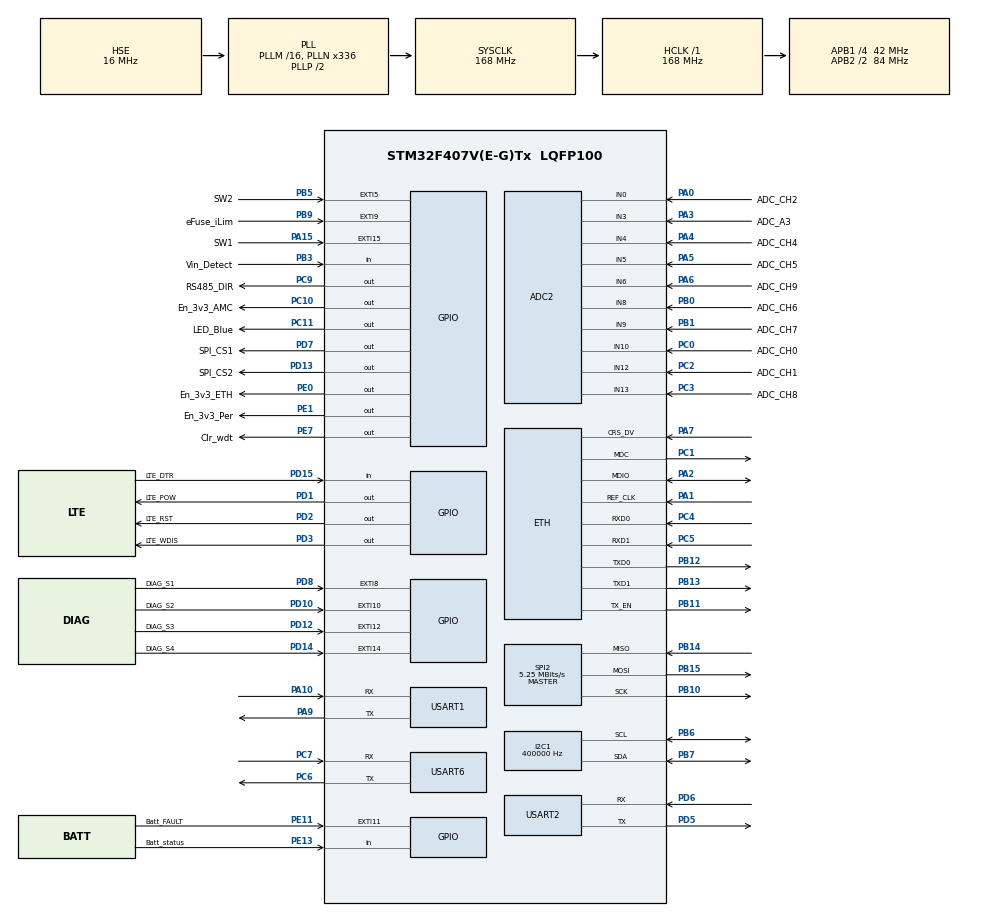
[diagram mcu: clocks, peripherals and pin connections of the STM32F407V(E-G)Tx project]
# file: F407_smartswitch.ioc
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ADC2.Channel-0\#ChannelRegularConversion=ADC_CHANNEL_10
ADC2.Channel-1\#ChannelRegularConversion=ADC_CHANNEL_12
ADC2.Channel-2\#ChannelRegularConversion=ADC_CHANNEL_0
ADC2.Channel-3\#ChannelRegularConversion=ADC_CHANNEL_3
ADC2.Channel-4\#ChannelRegularConversion=ADC_CHANNEL_4
ADC2.Channel-5\#ChannelRegularConversion=ADC_CHANNEL_5
ADC2.Channel-6\#ChannelRegularConversion=ADC_CHANNEL_8
ADC2.Channel-7\#ChannelRegularConversion=ADC_CHANNEL_9
ADC2.Channel-8\#ChannelRegularConversion=ADC_CHANNEL_13
ADC2.Channel-9\#ChannelRegularConversion=ADC_CHANNEL_6
ADC2.ContinuousConvMode=ENABLE
ADC2.DMAContinuousRequests=ENABLE
ADC2.EOCSelection=ADC_EOC_SEQ_CONV
ADC2.EnableAnalogWatchDog=false
ADC2.ExternalTrigConv=ADC_SOFTWARE_START
ADC2.InjNumberOfConversion=0
ADC2.NbrOfConversion=10
ADC2.NbrOfConversionFlag=1
ADC2.Rank-0\#ChannelRegularConversion=1
ADC2.Rank-1\#ChannelRegularConversion=2
ADC2.Rank-2\#ChannelRegularConversion=3
ADC2.Rank-3\#ChannelRegularConversion=4
ADC2.Rank-4\#ChannelRegularConversion=5
ADC2.Rank-5\#ChannelRegularConversion=6
ADC2.Rank-6\#ChannelRegularConversion=7
ADC2.Rank-7\#ChannelRegularConversion=8
ADC2.Rank-8\#ChannelRegularConversion=9
ADC2.Rank-9\#ChannelRegularConversion=10
ADC2.SamplingTime-0\#ChannelRegularConversion=ADC_SAMPLETIME_480CYCLES
ADC2.SamplingTime-1\#ChannelRegularConversion=ADC_SAMPLETIME_480CYCLES
ADC2.SamplingTime-2\#ChannelRegularConversion=ADC_SAMPLETIME_480CYCLES
ADC2.SamplingTime-3\#ChannelRegularConversion=ADC_SAMPLETIME_480CYCLES
ADC2.SamplingTime-4\#ChannelRegularConversion=ADC_SAMPLETIME_480CYCLES
ADC2.SamplingTime-5\#ChannelRegularConversion=ADC_SAMPLETIME_480CYCLES
ADC2.SamplingTime-6\#ChannelRegularConversion=ADC_SAMPLETIME_480CYCLES
ADC2.SamplingTime-7\#ChannelRegularConversion=ADC_SAMPLETIME_480CYCLES
ADC2.SamplingTime-8\#ChannelRegularConversion=ADC_SAMPLETIME_480CYCLES
ADC2.SamplingTime-9\#ChannelRegularConversion=ADC_SAMPLETIME_480CYCLES
ADC2.ScanConvMode=ENABLE
Dma.ADC2.10.Direction=DMA_PERIPH_TO_MEMORY
Dma.ADC2.10.FIFOMode=DMA_FIFOMODE_DISABLE
Dma.ADC2.10.Instance=DMA2_Stream3
Dma.ADC2.10.MemDataAlignment=DMA_MDATAALIGN_HALFWORD
Dma.ADC2.10.MemInc=DMA_MINC_ENABLE
Dma.ADC2.10.Mode=DMA_CIRCULAR
Dma.ADC2.10.PeriphDataAlignment=DMA_PDATAALIGN_HALFWORD
Dma.ADC2.10.PeriphInc=DMA_PINC_DISABLE
Dma.ADC2.10.Priority=DMA_PRIORITY_MEDIUM
Dma.I2C1_RX.2.Direction=DMA_PERIPH_TO_MEMORY
Dma.I2C1_RX.2.FIFOMode=DMA_FIFOMODE_DISABLE
Dma.I2C1_RX.2.Instance=DMA1_Stream0
Dma.I2C1_RX.2.MemDataAlignment=DMA_MDATAALIGN_BYTE
Dma.I2C1_RX.2.MemInc=DMA_MINC_ENABLE
Dma.I2C1_RX.2.Mode=DMA_NORMAL
Dma.I2C1_RX.2.PeriphDataAlignment=DMA_PDATAALIGN_BYTE
Dma.I2C1_RX.2.PeriphInc=DMA_PINC_DISABLE
Dma.I2C1_RX.2.Priority=DMA_PRIORITY_LOW
Dma.I2C1_TX.3.Direction=DMA_MEMORY_TO_PERIPH
Dma.I2C1_TX.3.FIFOMode=DMA_FIFOMODE_DISABLE
Dma.I2C1_TX.3.Instance=DMA1_Stream7
Dma.I2C1_TX.3.MemDataAlignment=DMA_MDATAALIGN_BYTE
Dma.I2C1_TX.3.MemInc=DMA_MINC_ENABLE
Dma.I2C1_TX.3.Mode=DMA_NORMAL
Dma.I2C1_TX.3.PeriphDataAlignment=DMA_PDATAALIGN_BYTE
Dma.I2C1_TX.3.PeriphInc=DMA_PINC_DISABLE
Dma.I2C1_TX.3.Priority=DMA_PRIORITY_LOW
Dma.Request0=USART6_RX
Dma.Request1=USART6_TX
Dma.Request10=ADC2
Dma.Request2=I2C1_RX
Dma.Request3=I2C1_TX
Dma.Request4=USART1_RX
Dma.Request5=USART1_TX
Dma.Request6=SPI2_RX
Dma.Request7=SPI2_TX
Dma.Request8=USART2_RX
Dma.Request9=USART2_TX
Dma.SPI2_RX.6.Direction=DMA_PERIPH_TO_MEMORY
Dma.SPI2_RX.6.FIFOMode=DMA_FIFOMODE_DISABLE
Dma.SPI2_RX.6.Instance=DMA1_Stream3
Dma.SPI2_RX.6.MemDataAlignment=DMA_MDATAALIGN_BYTE
Dma.SPI2_RX.6.MemInc=DMA_MINC_ENABLE
Dma.SPI2_RX.6.Mode=DMA_NORMAL
Dma.SPI2_RX.6.PeriphDataAlignment=DMA_PDATAALIGN_BYTE
Dma.SPI2_RX.6.PeriphInc=DMA_PINC_DISABLE
Dma.SPI2_RX.6.Priority=DMA_PRIORITY_LOW
Dma.SPI2_TX.7.Direction=DMA_MEMORY_TO_PERIPH
Dma.SPI2_TX.7.FIFOMode=DMA_FIFOMODE_DISABLE
Dma.SPI2_TX.7.Instance=DMA1_Stream4
Dma.SPI2_TX.7.MemDataAlignment=DMA_MDATAALIGN_BYTE
Dma.SPI2_TX.7.MemInc=DMA_MINC_ENABLE
Dma.SPI2_TX.7.Mode=DMA_NORMAL
Dma.SPI2_TX.7.PeriphDataAlignment=DMA_PDATAALIGN_BYTE
Dma.SPI2_TX.7.PeriphInc=DMA_PINC_DISABLE
Dma.SPI2_TX.7.Priority=DMA_PRIORITY_LOW
Dma.USART1_RX.4.Direction=DMA_PERIPH_TO_MEMORY
Dma.USART1_RX.4.FIFOMode=DMA_FIFOMODE_DISABLE
Dma.USART1_RX.4.Instance=DMA2_Stream2
Dma.USART1_RX.4.MemDataAlignment=DMA_MDATAALIGN_BYTE
Dma.USART1_RX.4.MemInc=DMA_MINC_ENABLE
Dma.USART1_RX.4.Mode=DMA_NORMAL
Dma.USART1_RX.4.PeriphDataAlignment=DMA_PDATAALIGN_BYTE
Dma.USART1_RX.4.PeriphInc=DMA_PINC_DISABLE
Dma.USART1_RX.4.Priority=DMA_PRIORITY_LOW
Dma.USART1_TX.5.Direction=DMA_MEMORY_TO_PERIPH
Dma.USART1_TX.5.FIFOMode=DMA_FIFOMODE_DISABLE
Dma.USART1_TX.5.Instance=DMA2_Stream7
Dma.USART1_TX.5.MemDataAlignment=DMA_MDATAALIGN_BYTE
Dma.USART1_TX.5.MemInc=DMA_MINC_ENABLE
Dma.USART1_TX.5.Mode=DMA_NORMAL
Dma.USART1_TX.5.PeriphDataAlignment=DMA_PDATAALIGN_BYTE
Dma.USART1_TX.5.PeriphInc=DMA_PINC_DISABLE
Dma.USART1_TX.5.Priority=DMA_PRIORITY_LOW
Dma.USART2_RX.8.Direction=DMA_PERIPH_TO_MEMORY
Dma.USART2_RX.8.FIFOMode=DMA_FIFOMODE_DISABLE
Dma.USART2_RX.8.Instance=DMA1_Stream5
Dma.USART2_RX.8.MemDataAlignment=DMA_MDATAALIGN_BYTE
Dma.USART2_RX.8.MemInc=DMA_MINC_ENABLE
Dma.USART2_RX.8.Mode=DMA_NORMAL
Dma.USART2_RX.8.PeriphDataAlignment=DMA_PDATAALIGN_BYTE
Dma.USART2_RX.8.PeriphInc=DMA_PINC_DISABLE
Dma.USART2_RX.8.Priority=DMA_PRIORITY_LOW
Dma.USART2_TX.9.Direction=DMA_MEMORY_TO_PERIPH
Dma.USART2_TX.9.FIFOMode=DMA_FIFOMODE_DISABLE
Dma.USART2_TX.9.Instance=DMA1_Stream6
Dma.USART2_TX.9.MemDataAlignment=DMA_MDATAALIGN_BYTE
Dma.USART2_TX.9.MemInc=DMA_MINC_ENABLE
Dma.USART2_TX.9.Mode=DMA_NORMAL
Dma.USART2_TX.9.PeriphDataAlignment=DMA_PDATAALIGN_BYTE
Dma.USART2_TX.9.PeriphInc=DMA_PINC_DISABLE
Dma.USART2_TX.9.Priority=DMA_PRIORITY_LOW
Dma.USART6_RX.0.Direction=DMA_PERIPH_TO_MEMORY
Dma.USART6_RX.0.FIFOMode=DMA_FIFOMODE_DISABLE
Dma.USART6_RX.0.Instance=DMA2_Stream1
Dma.USART6_RX.0.MemDataAlignment=DMA_MDATAALIGN_BYTE
Dma.USART6_RX.0.MemInc=DMA_MINC_ENABLE
Dma.USART6_RX.0.Mode=DMA_CIRCULAR
Dma.USART6_RX.0.PeriphDataAlignment=DMA_PDATAALIGN_BYTE
Dma.USART6_RX.0.PeriphInc=DMA_PINC_DISABLE
Dma.USART6_RX.0.Priority=DMA_PRIORITY_LOW
Dma.USART6_TX.1.Direction=DMA_MEMORY_TO_PERIPH
Dma.USART6_TX.1.FIFOMode=DMA_FIFOMODE_DISABLE
Dma.USART6_TX.1.Instance=DMA2_Stream6
Dma.USART6_TX.1.MemDataAlignment=DMA_MDATAALIGN_BYTE
Dma.USART6_TX.1.MemInc=DMA_MINC_ENABLE
Dma.USART6_TX.1.Mode=DMA_NORMAL
Dma.USART6_TX.1.PeriphDataAlignment=DMA_PDATAALIGN_BYTE
Dma.USART6_TX.1.PeriphInc=DMA_PINC_DISABLE
Dma.USART6_TX.1.Priority=DMA_PRIORITY_LOW
ETH.MediaInterface=HAL_ETH_RMII_MODE
FREERTOS.Tasks01=defaultTask,24,512,StartDefaultTask,Default,NULL,Dynamic,NULL,NULL
FREERTOS.configCHECK_FOR_STACK_OVERFLOW=2
FREERTOS.configTOTAL_HEAP_SIZE=49152
FREERTOS.configUSE_MALLOC_FAILED_HOOK=1
FREERTOS.configUSE_NEWLIB_REENTRANT=1
I2C1.ClockSpeed=400000
I2C1.I2C_Mode=I2C_Fast
Mcu.Family=STM32F4
Mcu.Name=STM32F407V(E-G)Tx
Mcu.Package=LQFP100
NVIC.DMA1_Stream0_IRQn=true\:5\:0\:false\:false\:true\:true\:false\:true\:true
NVIC.DMA1_Stream3_IRQn=true\:5\:0\:false\:false\:true\:true\:false\:true\:true
NVIC.DMA1_Stream4_IRQn=true\:5\:0\:false\:false\:true\:true\:false\:true\:true
NVIC.DMA1_Stream5_IRQn=true\:5\:0\:false\:false\:true\:true\:false\:true\:true
NVIC.DMA1_Stream6_IRQn=true\:5\:0\:false\:false\:true\:true\:false\:true\:true
NVIC.DMA1_Stream7_IRQn=true\:5\:0\:false\:false\:true\:true\:false\:true\:true
NVIC.DMA2_Stream1_IRQn=true\:5\:0\:false\:false\:true\:true\:false\:true\:true
NVIC.DMA2_Stream2_IRQn=true\:5\:0\:false\:false\:true\:true\:false\:true\:true
NVIC.DMA2_Stream3_IRQn=true\:5\:0\:false\:false\:true\:true\:false\:true\:true
NVIC.DMA2_Stream6_IRQn=true\:5\:0\:false\:false\:true\:true\:false\:true\:true
NVIC.DMA2_Stream7_IRQn=true\:5\:0\:false\:false\:true\:true\:false\:true\:true
NVIC.EXTI15_10_IRQn=true\:5\:0\:false\:false\:true\:true\:true\:true\:true
NVIC.EXTI9_5_IRQn=true\:5\:0\:false\:false\:true\:true\:true\:true\:true
NVIC.PriorityGroup=NVIC_PRIORITYGROUP_4
NVIC.SPI2_IRQn=true\:5\:0\:false\:false\:true\:true\:true\:true\:true
NVIC.TIM6_DAC_IRQn=true\:15\:0\:false\:false\:true\:false\:false\:true\:true
NVIC.TimeBase=TIM6_DAC_IRQn
NVIC.TimeBaseIP=TIM6
NVIC.USART1_IRQn=true\:5\:0\:false\:false\:true\:true\:true\:true\:true
NVIC.USART2_IRQn=true\:5\:0\:false\:false\:true\:true\:true\:true\:true
NVIC.USART6_IRQn=true\:5\:0\:false\:false\:true\:true\:true\:true\:true
Oryx-Embedded.Middleware.2.5.2.CycloneCommonCcCycloneCommonJjCompilerOoSupport=true
Oryx-Embedded.Middleware.2.5.2.CycloneCommonCcCycloneCommonJjDateOoTimeOoHelperOoRoutines=true
Oryx-Embedded.Middleware.2.5.2.CycloneCommonCcCycloneCommonJjRTOSOoPortJjFreeRTOSOoPort=true
Oryx-Embedded.Middleware.2.5.2.CycloneCommonCcCycloneCommonJjResourceOoManager=true
Oryx-Embedded.Middleware.2.5.2.CycloneCommonCcCycloneCommonJjStringOoHelperOoRoutines=true
Oryx-Embedded.Middleware.2.5.2.CycloneTCPCcCycloneTCPJjCore=true
Oryx-Embedded.Middleware.2.5.2.CycloneTCPCcCycloneTCPJjDHCPJjDHCPOoClient=true
Oryx-Embedded.Middleware.2.5.2.CycloneTCPCcCycloneTCPJjDriversOoDdMACEeJjSTM32F4xx=true
Oryx-Embedded.Middleware.2.5.2.CycloneTCPCcCycloneTCPJjDriversOoDdPHYEeJjLAN8742=true
Oryx-Embedded.Middleware.2.5.2.CycloneTCPCcCycloneTCPJjHTTPJjHTTPOoServer=TCP
Oryx-Embedded.Middleware.2.5.2.CycloneTCPCcCycloneTCPJjIPv4JjCore=true
Oryx-Embedded.Middleware.2.5.2.CycloneTCPCcCycloneTCPJjSocket=true
Oryx-Embedded.Middleware.2.5.2.CycloneTCPCcCycloneTCPJjTCP=true
Oryx-Embedded.Middleware.2.5.2.CycloneTCPCcCycloneTCPJjUDP=true
PA0-WKUP.GPIO_Label=ADC_CH2
PA0-WKUP.Signal=ADCx_IN0
PA1.Mode=RMII
PA1.Signal=ETH_REF_CLK
PA10.Mode=Asynchronous
PA10.Signal=USART1_RX
PA13.Mode=Serial_Wire
PA13.Signal=SYS_JTMS-SWDIO
PA14.Mode=Serial_Wire
PA14.Signal=SYS_JTCK-SWCLK
PA15.GPIO_Label=SW1
PA15.GPIO_ModeDefaultEXTI=GPIO_MODE_IT_FALLING
PA15.Signal=GPXTI15
PA2.Mode=RMII
PA2.Signal=ETH_MDIO
PA3.GPIO_Label=ADC_A3
PA3.Signal=ADCx_IN3
PA4.GPIO_Label=ADC_CH4
PA4.Signal=ADCx_IN4
PA5.GPIO_Label=ADC_CH5
PA5.Signal=ADCx_IN5
PA6.GPIO_Label=ADC_CH9
PA6.Signal=ADCx_IN6
PA7.Mode=RMII
PA7.Signal=ETH_CRS_DV
PA9.Mode=Asynchronous
PA9.Signal=USART1_TX
PB0.GPIO_Label=ADC_CH6
PB0.Signal=ADCx_IN8
PB1.GPIO_Label=ADC_CH7
PB1.Signal=ADCx_IN9
PB10.GPIO_Speed=GPIO_SPEED_FREQ_MEDIUM
PB10.Mode=Full_Duplex_Master
PB10.Signal=SPI2_SCK
PB11.Mode=RMII
PB11.Signal=ETH_TX_EN
PB12.Mode=RMII
PB12.Signal=ETH_TXD0
PB13.Mode=RMII
PB13.Signal=ETH_TXD1
PB14.GPIO_Speed=GPIO_SPEED_FREQ_MEDIUM
PB14.Mode=Full_Duplex_Master
PB14.Signal=SPI2_MISO
PB15.GPIO_Speed=GPIO_SPEED_FREQ_MEDIUM
PB15.Mode=Full_Duplex_Master
PB15.Signal=SPI2_MOSI
PB3.GPIO_Label=Vin_Detect
PB3.Signal=GPIO_Input
PB5.GPIO_Label=SW2
PB5.GPIO_ModeDefaultEXTI=GPIO_MODE_IT_FALLING
PB5.Signal=GPXTI5
PB6.Mode=I2C
PB6.Signal=I2C1_SCL
PB7.Mode=I2C
PB7.Signal=I2C1_SDA
PB9.GPIO_Label=eFuse_iLim
PB9.GPIO_ModeDefaultEXTI=GPIO_MODE_IT_FALLING
PB9.Signal=GPXTI9
PC0.GPIO_Label=ADC_CH0
PC0.Signal=ADCx_IN10
PC1.Mode=RMII
PC1.Signal=ETH_MDC
PC10.GPIO_Label=En_3v3_AMC
PC10.Signal=GPIO_Output
PC11.GPIO_Label=LED_Blue
PC11.PinState=GPIO_PIN_SET
PC11.Signal=GPIO_Output
PC14-OSC32_IN.Mode=LSE-External-Clock-Source
PC14-OSC32_IN.Signal=RCC_OSC32_IN
PC15-OSC32_OUT.Mode=LSE-External-Clock-Source
PC15-OSC32_OUT.Signal=RCC_OSC32_OUT
PC2.GPIO_Label=ADC_CH1
PC2.Signal=ADCx_IN12
PC3.GPIO_Label=ADC_CH8
PC3.Signal=ADCx_IN13
PC4.Mode=RMII
PC4.Signal=ETH_RXD0
PC5.Mode=RMII
PC5.Signal=ETH_RXD1
PC6.Mode=Asynchronous
PC6.Signal=USART6_TX
PC7.Mode=Asynchronous
PC7.Signal=USART6_RX
PC9.GPIO_Label=RS485_DIR
PC9.Signal=GPIO_Output
PD1.GPIO_Label=LTE_POW
PD1.Signal=GPIO_Output
PD10.GPIO_Label=DIAG_S2
PD10.GPIO_ModeDefaultEXTI=GPIO_MODE_IT_FALLING
PD10.Signal=GPXTI10
PD12.GPIO_Label=DIAG_S3
PD12.GPIO_ModeDefaultEXTI=GPIO_MODE_IT_FALLING
PD12.Signal=GPXTI12
PD13.GPIO_Label=SPI_CS2
PD13.PinState=GPIO_PIN_SET
PD13.Signal=GPIO_Output
PD14.GPIO_Label=DIAG_S4
PD14.GPIO_ModeDefaultEXTI=GPIO_MODE_IT_FALLING
PD14.Signal=GPXTI14
PD15.GPIO_Label=LTE_DTR
PD15.Signal=GPIO_Input
PD2.GPIO_Label=LTE_RST
PD2.Signal=GPIO_Output
PD3.GPIO_Label=LTE_WDIS
PD3.Signal=GPIO_Output
PD5.Mode=Asynchronous
PD5.Signal=USART2_TX
PD6.Mode=Asynchronous
PD6.Signal=USART2_RX
PD7.GPIO_Label=SPI_CS1
PD7.PinState=GPIO_PIN_SET
PD7.Signal=GPIO_Output
PD8.GPIO_Label=DIAG_S1
PD8.GPIO_ModeDefaultEXTI=GPIO_MODE_IT_FALLING
PD8.Signal=GPXTI8
PE0.GPIO_Label=En_3v3_ETH
PE0.Signal=GPIO_Output
PE1.GPIO_Label=En_3v3_Per
PE1.Signal=GPIO_Output
PE11.GPIO_Label=Batt_FAULT
PE11.GPIO_ModeDefaultEXTI=GPIO_MODE_IT_FALLING
PE11.Signal=GPXTI11
PE13.GPIO_Label=Batt_status
PE13.Signal=GPIO_Input
PE7.GPIO_Label=Clr_wdt
PE7.Signal=GPIO_Output
PH0-OSC_IN.Mode=HSE-External-Oscillator
PH0-OSC_IN.Signal=RCC_OSC_IN
PH1-OSC_OUT.Mode=HSE-External-Oscillator
PH1-OSC_OUT.Signal=RCC_OSC_OUT
ProjectManager.HeapSize=0x200
ProjectManager.StackSize=0x400
ProjectManager.TargetToolchain=STM32CubeIDE
RCC.48MHZClocksFreq_Value=48000000
RCC.AHBFreq_Value=168000000
RCC.APB1CLKDivider=RCC_HCLK_DIV4
RCC.APB1Freq_Value=42000000
RCC.APB1TimFreq_Value=84000000
RCC.APB2CLKDivider=RCC_HCLK_DIV2
RCC.APB2Freq_Value=84000000
RCC.APB2TimFreq_Value=168000000
RCC.CortexFreq_Value=168000000
RCC.HCLKFreq_Value=168000000
RCC.HSE_VALUE=16000000
RCC.HSI_VALUE=16000000
RCC.LSE_VALUE=32768
RCC.PLLN=336
RCC.PLLQ=7
RCC.PLLSourceVirtual=RCC_PLLSOURCE_HSE
RCC.RCC_RTC_Clock_Source=RCC_RTCCLKSOURCE_LSE
RCC.RCC_RTC_Clock_SourceVirtual=RCC_RTCCLKSOURCE_LSE
RCC.SYSCLKFreq_VALUE=168000000
RCC.SYSCLKSource=RCC_SYSCLKSOURCE_PLLCLK
RCC.VCOOutputFreq_Value=336000000
SH.ADCx_IN0.0=ADC2_IN0,IN0
SH.ADCx_IN10.0=ADC2_IN10,IN10
SH.ADCx_IN12.0=ADC2_IN12,IN12
SH.ADCx_IN13.0=ADC2_IN13,IN13
SH.ADCx_IN3.0=ADC2_IN3,IN3
SH.ADCx_IN4.0=ADC2_IN4,IN4
SH.ADCx_IN5.0=ADC2_IN5,IN5
SH.ADCx_IN6.0=ADC2_IN6,IN6
SH.ADCx_IN8.0=ADC2_IN8,IN8
SH.ADCx_IN9.0=ADC2_IN9,IN9
SPI2.BaudRatePrescaler=SPI_BAUDRATEPRESCALER_8
SPI2.CalculateBaudRate=5.25 MBits/s
SPI2.Direction=SPI_DIRECTION_2LINES
SPI2.Mode=SPI_MODE_MASTER
SPI2.VirtualType=VM_MASTER
USART1.VirtualMode=VM_ASYNC
USART2.VirtualMode=VM_ASYNC
USART6.VirtualMode=VM_ASYNC
VP_FREERTOS_VS_CMSIS_V2.Mode=CMSIS_V2
VP_Oryx-Embedded.Middleware_VS_CycloneCommonJjCycloneCommon_2.5.2_2.5.2.Mode=CycloneCommonJjCycloneCommon
VP_Oryx-Embedded.Middleware_VS_CycloneTCPJjCycloneTCP_2.5.2_2.5.2.Mode=CycloneTCPJjCycloneTCP
VP_RNG_VS_RNG.Mode=RNG_Activate
VP_RTC_VS_RTC_Activate.Mode=RTC_Enabled
VP_RTC_VS_RTC_Calendar.Mode=RTC_Calendar
VP_SYS_VS_tim6.Mode=TIM6
board=custom

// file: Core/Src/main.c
/* USER CODE BEGIN Header */
/**
  ******************************************************************************
  * @file           : main.c
  * @brief          : Main program body
  ******************************************************************************
  * @attention
  *
  * Copyright (c) 2026 STMicroelectronics.
  * All rights reserved.
  *
  * This software is licensed under terms that can be found in the LICENSE file
  * in the root directory of this software component.
  * If no LICENSE file comes with this software, it is provided AS-IS.
  *
  ******************************************************************************
  */
/* USER CODE END Header */
#include "main.h"
#include "string.h"
#include "cmsis_os.h"

/* USER CODE BEGIN Includes */
#include "debug_log.h"
#include "eth_probe.h"
#include "w25q128.h"
#include "flash_dma_test.h"
#include "pca9536.h"
#include "debug_protocol.h"
#include "boot.h"
#include "supervisor.h"
#include "control.h"
#include "acquisition.h"
#include "power.h"
#include "storage.h"
#include "remote_link.h"
#include "ssw_image.h"
#include "fota.h"
#include "local_ui.h"
/* USER CODE END Includes */

ETH_TxPacketConfig TxConfig;
ETH_DMADescTypeDef  DMARxDscrTab[ETH_RX_DESC_CNT]; /* Ethernet Rx DMA Descriptors */
ETH_DMADescTypeDef  DMATxDscrTab[ETH_TX_DESC_CNT]; /* Ethernet Tx DMA Descriptors */

ADC_HandleTypeDef hadc2;
DMA_HandleTypeDef hdma_adc2;

ETH_HandleTypeDef heth;

I2C_HandleTypeDef hi2c1;
DMA_HandleTypeDef hdma_i2c1_rx;
DMA_HandleTypeDef hdma_i2c1_tx;

RNG_HandleTypeDef hrng;

RTC_HandleTypeDef hrtc;

SPI_HandleTypeDef hspi2;
DMA_HandleTypeDef hdma_spi2_rx;
DMA_HandleTypeDef hdma_spi2_tx;

UART_HandleTypeDef huart1;
UART_HandleTypeDef huart2;
UART_HandleTypeDef huart6;
DMA_HandleTypeDef hdma_usart1_rx;
DMA_HandleTypeDef hdma_usart1_tx;
DMA_HandleTypeDef hdma_usart2_rx;
DMA_HandleTypeDef hdma_usart2_tx;
DMA_HandleTypeDef hdma_usart6_rx;
DMA_HandleTypeDef hdma_usart6_tx;

/* Definitions for defaultTask */
osThreadId_t defaultTaskHandle;
const osThreadAttr_t defaultTask_attributes = {
  .name = "defaultTask",
  .stack_size = 512 * 4,
  .priority = (osPriority_t) osPriorityNormal,
};
/* USER CODE BEGIN PV */
volatile uint32_t flashTestRequest;
/* Relay debug hooks were removed in Phase 2: relays change only through Control. */
/* USER CODE END PV */

void SystemClock_Config(void);
static void MX_GPIO_Init(void);
static void MX_DMA_Init(void);
static void MX_ETH_Init(void);
static void MX_RTC_Init(void);
static void MX_USART6_UART_Init(void);
static void MX_I2C1_Init(void);
static void MX_USART1_UART_Init(void);
static void MX_SPI2_Init(void);
static void MX_ADC2_Init(void);
static void MX_USART2_UART_Init(void);
static void MX_RNG_Init(void);
void StartDefaultTask(void *argument);

int main(void)
{

  /* USER CODE BEGIN 1 */
  /* Vector table behind the image header (the bootloader sets it too; also needed when
   * the debugger starts the application directly). */
  SCB->VTOR = SSW_APP_ADDR + SSW_APP_VECTOR_OFF;
  __DSB();
  Boot_CaptureResetCause();
  /* USER CODE END 1 */

  /* MCU Configuration--------------------------------------------------------*/

  /* Reset of all peripherals, Initializes the Flash interface and the Systick. */
  HAL_Init();

  /* Configure the system clock */
  SystemClock_Config();

  /* USER CODE BEGIN SysInit */
  Boot_WdtEarlyKick();  /* STWD100 boot phase starts here (S4-1) */
  /* USER CODE END SysInit */

  /* Initialize all configured peripherals */
  MX_GPIO_Init();
  MX_DMA_Init();
  MX_ETH_Init();
  MX_RTC_Init();
  MX_USART6_UART_Init();
  MX_I2C1_Init();
  MX_USART1_UART_Init();
  MX_SPI2_Init();
  MX_ADC2_Init();
  MX_USART2_UART_Init();
  MX_RNG_Init();
  /* USER CODE BEGIN 2 */
  Boot_WdtKick();
  Boot_SafeUnusedInterfaces();
  /* USER CODE END 2 */

  /* Init scheduler */
  osKernelInitialize();

  /* Create the thread(s) */
  /* creation of defaultTask */
  defaultTaskHandle = osThreadNew(StartDefaultTask, NULL, &defaultTask_attributes);

  /* USER CODE BEGIN RTOS_THREADS */
  if (!Supervisor_Start()) Error_Handler();
  /* USER CODE END RTOS_THREADS */

  /* Start scheduler */
  osKernelStart();

  /* We should never get here as control is now taken by the scheduler */

  /* Infinite loop */
  while (1)
  {

  }
}

void SystemClock_Config(void)
{
  RCC_OscInitTypeDef RCC_OscInitStruct = {0};
  RCC_ClkInitTypeDef RCC_ClkInitStruct = {0};

  /** Configure the main internal regulator output voltage
  */
  __HAL_RCC_PWR_CLK_ENABLE();
  __HAL_PWR_VOLTAGESCALING_CONFIG(PWR_REGULATOR_VOLTAGE_SCALE1);

  /** Initializes the RCC Oscillators according to the specified parameters
  * in the RCC_OscInitTypeDef structure.
  */
  RCC_OscInitStruct.OscillatorType = RCC_OSCILLATORTYPE_HSE|RCC_OSCILLATORTYPE_LSE;
  RCC_OscInitStruct.HSEState = RCC_HSE_ON;
  RCC_OscInitStruct.LSEState = RCC_LSE_BYPASS;
  RCC_OscInitStruct.PLL.PLLState = RCC_PLL_ON;
  RCC_OscInitStruct.PLL.PLLSource = RCC_PLLSOURCE_HSE;
  RCC_OscInitStruct.PLL.PLLM = 16;
  RCC_OscInitStruct.PLL.PLLN = 336;
  RCC_OscInitStruct.PLL.PLLP = RCC_PLLP_DIV2;
  RCC_OscInitStruct.PLL.PLLQ = 7;
  if (HAL_RCC_OscConfig(&RCC_OscInitStruct) != HAL_OK)
  {
    Error_Handler();
  }

  /** Initializes the CPU, AHB and APB buses clocks
  */
  RCC_ClkInitStruct.ClockType = RCC_CLOCKTYPE_HCLK|RCC_CLOCKTYPE_SYSCLK
                              |RCC_CLOCKTYPE_PCLK1|RCC_CLOCKTYPE_PCLK2;
  RCC_ClkInitStruct.SYSCLKSource = RCC_SYSCLKSOURCE_PLLCLK;
  RCC_ClkInitStruct.AHBCLKDivider = RCC_SYSCLK_DIV1;
  RCC_ClkInitStruct.APB1CLKDivider = RCC_HCLK_DIV4;
  RCC_ClkInitStruct.APB2CLKDivider = RCC_HCLK_DIV2;

  if (HAL_RCC_ClockConfig(&RCC_ClkInitStruct, FLASH_LATENCY_5) != HAL_OK)
  {
    Error_Handler();
  }
}

static void MX_ADC2_Init(void)
{

  ADC_ChannelConfTypeDef sConfig = {0};

  /** Configure the global features of the ADC (Clock, Resolution, Data Alignment and number of conversion)
  */
  hadc2.Instance = ADC2;
  hadc2.Init.ClockPrescaler = ADC_CLOCK_SYNC_PCLK_DIV4;
  hadc2.Init.Resolution = ADC_RESOLUTION_12B;
  hadc2.Init.ScanConvMode = ENABLE;
  hadc2.Init.ContinuousConvMode = ENABLE;
  hadc2.Init.DiscontinuousConvMode = DISABLE;
  hadc2.Init.ExternalTrigConvEdge = ADC_EXTERNALTRIGCONVEDGE_NONE;
  hadc2.Init.ExternalTrigConv = ADC_SOFTWARE_START;
  hadc2.Init.DataAlign = ADC_DATAALIGN_RIGHT;
  hadc2.Init.NbrOfConversion = 10;
  hadc2.Init.DMAContinuousRequests = ENABLE;
  hadc2.Init.EOCSelection = ADC_EOC_SEQ_CONV;
  if (HAL_ADC_Init(&hadc2) != HAL_OK)
  {
    Error_Handler();
  }

  /** Configure for the selected ADC regular channel its corresponding rank in the sequencer and its sample time.
  */
  sConfig.Channel = ADC_CHANNEL_10;
  sConfig.Rank = 1;
  sConfig.SamplingTime = ADC_SAMPLETIME_480CYCLES;
  if (HAL_ADC_ConfigChannel(&hadc2, &sConfig) != HAL_OK)
  {
    Error_Handler();
  }

  /** Configure for the selected ADC regular channel its corresponding rank in the sequencer and its sample time.
  */
  sConfig.Channel = ADC_CHANNEL_12;
  sConfig.Rank = 2;
  if (HAL_ADC_ConfigChannel(&hadc2, &sConfig) != HAL_OK)
  {
    Error_Handler();
  }

  /** Configure for the selected ADC regular channel its corresponding rank in the sequencer and its sample time.
  */
  sConfig.Channel = ADC_CHANNEL_0;
  sConfig.Rank = 3;
  if (HAL_ADC_ConfigChannel(&hadc2, &sConfig) != HAL_OK)
  {
    Error_Handler();
  }

  /** Configure for the selected ADC regular channel its corresponding rank in the sequencer and its sample time.
  */
  sConfig.Channel = ADC_CHANNEL_3;
  sConfig.Rank = 4;
  if (HAL_ADC_ConfigChannel(&hadc2, &sConfig) != HAL_OK)
  {
    Error_Handler();
  }

  /** Configure for the selected ADC regular channel its corresponding rank in the sequencer and its sample time.
  */
  sConfig.Channel = ADC_CHANNEL_4;
  sConfig.Rank = 5;
  if (HAL_ADC_ConfigChannel(&hadc2, &sConfig) != HAL_OK)
  {
    Error_Handler();
  }

  /** Configure for the selected ADC regular channel its corresponding rank in the sequencer and its sample time.
  */
  sConfig.Channel = ADC_CHANNEL_5;
  sConfig.Rank = 6;
  if (HAL_ADC_ConfigChannel(&hadc2, &sConfig) != HAL_OK)
  {
    Error_Handler();
  }

  /** Configure for the selected ADC regular channel its corresponding rank in the sequencer and its sample time.
  */
  sConfig.Channel = ADC_CHANNEL_8;
  sConfig.Rank = 7;
  if (HAL_ADC_ConfigChannel(&hadc2, &sConfig) != HAL_OK)
  {
    Error_Handler();
  }

  /** Configure for the selected ADC regular channel its corresponding rank in the sequencer and its sample time.
  */
  sConfig.Channel = ADC_CHANNEL_9;
  sConfig.Rank = 8;
  if (HAL_ADC_ConfigChannel(&hadc2, &sConfig) != HAL_OK)
  {
    Error_Handler();
  }

  /** Configure for the selected ADC regular channel its corresponding rank in the sequencer and its sample time.
  */
  sConfig.Channel = ADC_CHANNEL_13;
  sConfig.Rank = 9;
  if (HAL_ADC_ConfigChannel(&hadc2, &sConfig) != HAL_OK)
  {
    Error_Handler();
  }

  /** Configure for the selected ADC regular channel its corresponding rank in the sequencer and its sample time.
  */
  sConfig.Channel = ADC_CHANNEL_6;
  sConfig.Rank = 10;
  if (HAL_ADC_ConfigChannel(&hadc2, &sConfig) != HAL_OK)
  {
    Error_Handler();
  }

}

static void MX_ETH_Init(void)
{

  /* USER CODE BEGIN ETH_Init 0 */
  /* Defer Ethernet until the PHY power and reference clock are verified. */
  return;
  /* USER CODE END ETH_Init 0 */

   static uint8_t MACAddr[6];

  heth.Instance = ETH;
  MACAddr[0] = 0x00;
  MACAddr[1] = 0x80;
  MACAddr[2] = 0xE1;
  MACAddr[3] = 0x00;
  MACAddr[4] = 0x00;
  MACAddr[5] = 0x00;
  heth.Init.MACAddr = &MACAddr[0];
  heth.Init.MediaInterface = HAL_ETH_RMII_MODE;
  heth.Init.TxDesc = DMATxDscrTab;
  heth.Init.RxDesc = DMARxDscrTab;
  heth.Init.RxBuffLen = 1524;

  if (HAL_ETH_Init(&heth) != HAL_OK)
  {
    Error_Handler();
  }

  memset(&TxConfig, 0 , sizeof(ETH_TxPacketConfig));
  TxConfig.Attributes = ETH_TX_PACKETS_FEATURES_CSUM | ETH_TX_PACKETS_FEATURES_CRCPAD;
  TxConfig.ChecksumCtrl = ETH_CHECKSUM_IPHDR_PAYLOAD_INSERT_PHDR_CALC;
  TxConfig.CRCPadCtrl = ETH_CRC_PAD_INSERT;

}

static void MX_I2C1_Init(void)
{

  hi2c1.Instance = I2C1;
  hi2c1.Init.ClockSpeed = 400000;
  hi2c1.Init.DutyCycle = I2C_DUTYCYCLE_2;
  hi2c1.Init.OwnAddress1 = 0;
  hi2c1.Init.AddressingMode = I2C_ADDRESSINGMODE_7BIT;
  hi2c1.Init.DualAddressMode = I2C_DUALADDRESS_DISABLE;
  hi2c1.Init.OwnAddress2 = 0;
  hi2c1.Init.GeneralCallMode = I2C_GENERALCALL_DISABLE;
  hi2c1.Init.NoStretchMode = I2C_NOSTRETCH_DISABLE;
  if (HAL_I2C_Init(&hi2c1) != HAL_OK)
  {
    Error_Handler();
  }

}

static void MX_RNG_Init(void)
{

  hrng.Instance = RNG;
  if (HAL_RNG_Init(&hrng) != HAL_OK)
  {
    Error_Handler();
  }

}

static void MX_RTC_Init(void)
{

  RTC_TimeTypeDef sTime = {0};
  RTC_DateTypeDef sDate = {0};

  /** Initialize RTC Only
  */
  hrtc.Instance = RTC;
  hrtc.Init.HourFormat = RTC_HOURFORMAT_24;
  hrtc.Init.AsynchPrediv = 127;
  hrtc.Init.SynchPrediv = 255;
  hrtc.Init.OutPut = RTC_OUTPUT_DISABLE;
  hrtc.Init.OutPutPolarity = RTC_OUTPUT_POLARITY_HIGH;
  hrtc.Init.OutPutType = RTC_OUTPUT_TYPE_OPENDRAIN;
  if (HAL_RTC_Init(&hrtc) != HAL_OK)
  {
    Error_Handler();
  }

  /* USER CODE BEGIN Check_RTC_BKUP */
  /* Keep the calendar across resets (BKP0R magic, docs/architecture/drivers/bkp-rtc.md). */
  if (HAL_RTCEx_BKUPRead(&hrtc, RTC_BKP_DR0) == 0x52544331U)  /* "RTC1" */
  {
    Boot_SetRtcKept(true);
    return;
  }
  /* USER CODE END Check_RTC_BKUP */

  /** Initialize RTC and set the Time and Date
  */
  sTime.Hours = 0x0;
  sTime.Minutes = 0x0;
  sTime.Seconds = 0x0;
  sTime.DayLightSaving = RTC_DAYLIGHTSAVING_NONE;
  sTime.StoreOperation = RTC_STOREOPERATION_RESET;
  if (HAL_RTC_SetTime(&hrtc, &sTime, RTC_FORMAT_BCD) != HAL_OK)
  {
    Error_Handler();
  }
  sDate.WeekDay = RTC_WEEKDAY_MONDAY;
  sDate.Month = RTC_MONTH_JANUARY;
  sDate.Date = 0x1;
  sDate.Year = 0x0;

  if (HAL_RTC_SetDate(&hrtc, &sDate, RTC_FORMAT_BCD) != HAL_OK)
  {
    Error_Handler();
  }
  /* USER CODE BEGIN RTC_Init 2 */
  HAL_RTCEx_BKUPWrite(&hrtc, RTC_BKP_DR0, 0x52544331U);
  /* USER CODE END RTC_Init 2 */

}

static void MX_SPI2_Init(void)
{

  /* SPI2 parameter configuration*/
  hspi2.Instance = SPI2;
  hspi2.Init.Mode = SPI_MODE_MASTER;
  hspi2.Init.Direction = SPI_DIRECTION_2LINES;
  hspi2.Init.DataSize = SPI_DATASIZE_8BIT;
  hspi2.Init.CLKPolarity = SPI_POLARITY_LOW;
  hspi2.Init.CLKPhase = SPI_PHASE_1EDGE;
  hspi2.Init.NSS = SPI_NSS_SOFT;
  hspi2.Init.BaudRatePrescaler = SPI_BAUDRATEPRESCALER_8;
  hspi2.Init.FirstBit = SPI_FIRSTBIT_MSB;
  hspi2.Init.TIMode = SPI_TIMODE_DISABLE;
  hspi2.Init.CRCCalculation = SPI_CRCCALCULATION_DISABLE;
  hspi2.Init.CRCPolynomial = 10;
  if (HAL_SPI_Init(&hspi2) != HAL_OK)
  {
    Error_Handler();
  }

}

static void MX_USART1_UART_Init(void)
{

  huart1.Instance = USART1;
  huart1.Init.BaudRate = 115200;
  huart1.Init.WordLength = UART_WORDLENGTH_8B;
  huart1.Init.StopBits = UART_STOPBITS_1;
  huart1.Init.Parity = UART_PARITY_NONE;
  huart1.Init.Mode = UART_MODE_TX_RX;
  huart1.Init.HwFlowCtl = UART_HWCONTROL_NONE;
  huart1.Init.OverSampling = UART_OVERSAMPLING_16;
  if (HAL_UART_Init(&huart1) != HAL_OK)
  {
    Error_Handler();
  }

}

static void MX_USART2_UART_Init(void)
{

  huart2.Instance = USART2;
  huart2.Init.BaudRate = 115200;
  huart2.Init.WordLength = UART_WORDLENGTH_8B;
  huart2.Init.StopBits = UART_STOPBITS_1;
  huart2.Init.Parity = UART_PARITY_NONE;
  huart2.Init.Mode = UART_MODE_TX_RX;
  huart2.Init.HwFlowCtl = UART_HWCONTROL_NONE;
  huart2.Init.OverSampling = UART_OVERSAMPLING_16;
  if (HAL_UART_Init(&huart2) != HAL_OK)
  {
    Error_Handler();
  }

}

static void MX_USART6_UART_Init(void)
{

  huart6.Instance = USART6;
  huart6.Init.BaudRate = 115200;
  huart6.Init.WordLength = UART_WORDLENGTH_8B;
  huart6.Init.StopBits = UART_STOPBITS_1;
  huart6.Init.Parity = UART_PARITY_NONE;
  huart6.Init.Mode = UART_MODE_TX_RX;
  huart6.Init.HwFlowCtl = UART_HWCONTROL_NONE;
  huart6.Init.OverSampling = UART_OVERSAMPLING_16;
  if (HAL_UART_Init(&huart6) != HAL_OK)
  {
    Error_Handler();
  }

}

static void MX_DMA_Init(void)
{

  /* DMA controller clock enable */
  __HAL_RCC_DMA2_CLK_ENABLE();
  __HAL_RCC_DMA1_CLK_ENABLE();

  /* DMA interrupt init */
  /* DMA1_Stream0_IRQn interrupt configuration */
  HAL_NVIC_SetPriority(DMA1_Stream0_IRQn, 5, 0);
  HAL_NVIC_EnableIRQ(DMA1_Stream0_IRQn);
  /* DMA1_Stream3_IRQn interrupt configuration */
  HAL_NVIC_SetPriority(DMA1_Stream3_IRQn, 5, 0);
  HAL_NVIC_EnableIRQ(DMA1_Stream3_IRQn);
  /* DMA1_Stream4_IRQn interrupt configuration */
  HAL_NVIC_SetPriority(DMA1_Stream4_IRQn, 5, 0);
  HAL_NVIC_EnableIRQ(DMA1_Stream4_IRQn);
  /* DMA1_Stream5_IRQn interrupt configuration */
  HAL_NVIC_SetPriority(DMA1_Stream5_IRQn, 5, 0);
  HAL_NVIC_EnableIRQ(DMA1_Stream5_IRQn);
  /* DMA1_Stream6_IRQn interrupt configuration */
  HAL_NVIC_SetPriority(DMA1_Stream6_IRQn, 5, 0);
  HAL_NVIC_EnableIRQ(DMA1_Stream6_IRQn);
  /* DMA1_Stream7_IRQn interrupt configuration */
  HAL_NVIC_SetPriority(DMA1_Stream7_IRQn, 5, 0);
  HAL_NVIC_EnableIRQ(DMA1_Stream7_IRQn);
  /* DMA2_Stream1_IRQn interrupt configuration */
  HAL_NVIC_SetPriority(DMA2_Stream1_IRQn, 5, 0);
  HAL_NVIC_EnableIRQ(DMA2_Stream1_IRQn);
  /* DMA2_Stream2_IRQn interrupt configuration */
  HAL_NVIC_SetPriority(DMA2_Stream2_IRQn, 5, 0);
  HAL_NVIC_EnableIRQ(DMA2_Stream2_IRQn);
  /* DMA2_Stream3_IRQn interrupt configuration */
  HAL_NVIC_SetPriority(DMA2_Stream3_IRQn, 5, 0);
  HAL_NVIC_EnableIRQ(DMA2_Stream3_IRQn);
  /* DMA2_Stream6_IRQn interrupt configuration */
  HAL_NVIC_SetPriority(DMA2_Stream6_IRQn, 5, 0);
  HAL_NVIC_EnableIRQ(DMA2_Stream6_IRQn);
  /* DMA2_Stream7_IRQn interrupt configuration */
  HAL_NVIC_SetPriority(DMA2_Stream7_IRQn, 5, 0);
  HAL_NVIC_EnableIRQ(DMA2_Stream7_IRQn);

}

static void MX_GPIO_Init(void)
{
  GPIO_InitTypeDef GPIO_InitStruct = {0};

  /* GPIO Ports Clock Enable */
  __HAL_RCC_GPIOC_CLK_ENABLE();
  __HAL_RCC_GPIOH_CLK_ENABLE();
  __HAL_RCC_GPIOA_CLK_ENABLE();
  __HAL_RCC_GPIOB_CLK_ENABLE();
  __HAL_RCC_GPIOE_CLK_ENABLE();
  __HAL_RCC_GPIOD_CLK_ENABLE();

  /*Configure GPIO pin Output Level */
  HAL_GPIO_WritePin(GPIOE, Clr_wdt_Pin|En_3v3_ETH_Pin|En_3v3_Per_Pin, GPIO_PIN_RESET);

  /*Configure GPIO pin Output Level */
  HAL_GPIO_WritePin(GPIOD, SPI_CS2_Pin|SPI_CS1_Pin, GPIO_PIN_SET);

  /*Configure GPIO pin Output Level */
  HAL_GPIO_WritePin(GPIOC, RS485_DIR_Pin|En_3v3_AMC_Pin, GPIO_PIN_RESET);

  /*Configure GPIO pin Output Level */
  HAL_GPIO_WritePin(LED_Blue_GPIO_Port, LED_Blue_Pin, GPIO_PIN_SET);

  /*Configure GPIO pin Output Level */
  HAL_GPIO_WritePin(GPIOD, LTE_POW_Pin|LTE_RST_Pin|LTE_WDIS_Pin, GPIO_PIN_RESET);

  /*Configure GPIO pins : Clr_wdt_Pin En_3v3_ETH_Pin En_3v3_Per_Pin */
  GPIO_InitStruct.Pin = Clr_wdt_Pin|En_3v3_ETH_Pin|En_3v3_Per_Pin;
  GPIO_InitStruct.Mode = GPIO_MODE_OUTPUT_PP;
  GPIO_InitStruct.Pull = GPIO_NOPULL;
  GPIO_InitStruct.Speed = GPIO_SPEED_FREQ_LOW;
  HAL_GPIO_Init(GPIOE, &GPIO_InitStruct);

  /*Configure GPIO pin : Batt_FAULT_Pin */
  GPIO_InitStruct.Pin = Batt_FAULT_Pin;
  GPIO_InitStruct.Mode = GPIO_MODE_IT_FALLING;
  GPIO_InitStruct.Pull = GPIO_NOPULL;
  HAL_GPIO_Init(Batt_FAULT_GPIO_Port, &GPIO_InitStruct);

  /*Configure GPIO pin : Batt_status_Pin */
  GPIO_InitStruct.Pin = Batt_status_Pin;
  GPIO_InitStruct.Mode = GPIO_MODE_INPUT;
  GPIO_InitStruct.Pull = GPIO_NOPULL;
  HAL_GPIO_Init(Batt_status_GPIO_Port, &GPIO_InitStruct);

  /*Configure GPIO pins : DIAG_S1_Pin DIAG_S2_Pin DIAG_S3_Pin DIAG_S4_Pin */
  GPIO_InitStruct.Pin = DIAG_S1_Pin|DIAG_S2_Pin|DIAG_S3_Pin|DIAG_S4_Pin;
  GPIO_InitStruct.Mode = GPIO_MODE_IT_FALLING;
  GPIO_InitStruct.Pull = GPIO_NOPULL;
  HAL_GPIO_Init(GPIOD, &GPIO_InitStruct);

  /*Configure GPIO pins : SPI_CS2_Pin LTE_POW_Pin LTE_RST_Pin LTE_WDIS_Pin
                           SPI_CS1_Pin */
  GPIO_InitStruct.Pin = SPI_CS2_Pin|LTE_POW_Pin|LTE_RST_Pin|LTE_WDIS_Pin
                          |SPI_CS1_Pin;
  GPIO_InitStruct.Mode = GPIO_MODE_OUTPUT_PP;
  GPIO_InitStruct.Pull = GPIO_NOPULL;
  GPIO_InitStruct.Speed = GPIO_SPEED_FREQ_LOW;
  HAL_GPIO_Init(GPIOD, &GPIO_InitStruct);

  /*Configure GPIO pin : LTE_DTR_Pin */
  GPIO_InitStruct.Pin = LTE_DTR_Pin;
  GPIO_InitStruct.Mode = GPIO_MODE_INPUT;
  GPIO_InitStruct.Pull = GPIO_NOPULL;
  HAL_GPIO_Init(LTE_DTR_GPIO_Port, &GPIO_InitStruct);

  /*Configure GPIO pins : RS485_DIR_Pin En_3v3_AMC_Pin LED_Blue_Pin */
  GPIO_InitStruct.Pin = RS485_DIR_Pin|En_3v3_AMC_Pin|LED_Blue_Pin;
  GPIO_InitStruct.Mode = GPIO_MODE_OUTPUT_PP;
  GPIO_InitStruct.Pull = GPIO_NOPULL;
  GPIO_InitStruct.Speed = GPIO_SPEED_FREQ_LOW;
  HAL_GPIO_Init(GPIOC, &GPIO_InitStruct);

  /*Configure GPIO pin : SW1_Pin */
  GPIO_InitStruct.Pin = SW1_Pin;
  GPIO_InitStruct.Mode = GPIO_MODE_IT_FALLING;
  GPIO_InitStruct.Pull = GPIO_NOPULL;
  HAL_GPIO_Init(SW1_GPIO_Port, &GPIO_InitStruct);

  /*Configure GPIO pin : Vin_Detect_Pin */
  GPIO_InitStruct.Pin = Vin_Detect_Pin;
  GPIO_InitStruct.Mode = GPIO_MODE_INPUT;
  GPIO_InitStruct.Pull = GPIO_NOPULL;
  HAL_GPIO_Init(Vin_Detect_GPIO_Port, &GPIO_InitStruct);

  /*Configure GPIO pins : SW2_Pin eFuse_iLim_Pin */
  GPIO_InitStruct.Pin = SW2_Pin|eFuse_iLim_Pin;
  GPIO_InitStruct.Mode = GPIO_MODE_IT_FALLING;
  GPIO_InitStruct.Pull = GPIO_NOPULL;
  HAL_GPIO_Init(GPIOB, &GPIO_InitStruct);

  /* EXTI interrupt init*/
  HAL_NVIC_SetPriority(EXTI9_5_IRQn, 5, 0);
  HAL_NVIC_EnableIRQ(EXTI9_5_IRQn);

  HAL_NVIC_SetPriority(EXTI15_10_IRQn, 5, 0);
  HAL_NVIC_EnableIRQ(EXTI15_10_IRQn);

}

void StartDefaultTask(void *argument)
{
  /* USER CODE BEGIN 5 */
  /* Both USART6 users register per-handle HAL callbacks, which HAL accepts only
   * while TX is idle: start both before the first log message is queued. */
  (void) DebugLog_Init(&huart6);
  bool protocolReady = DebugProtocol_Start(&huart6);
  Boot_EvaluateSafeMode();
  (void) DebugLog_Printf("BOOT: reset cause %s, RTC %s, reset count %lu%s\r\n", Boot_ResetCause(),
      Boot_RtcKept() ? "kept" : "set to default", (unsigned long)Boot_ResetCount(),
      Boot_SafeMode() ? " -> SAFE MODE (Control, Power, Supervisor only; serial CLRSAFE clears)" : "");
  PCA9536_Registers pcaBefore, pcaAfter;
  I2cBusResult i2cResult = I2cBus_Init(&hi2c1);
  /* S6-1: first I2C activity is a bus recovery (the PCA9536 may hold SDA after a
   * reset mid-transfer), then the read-first init that keeps output state (I1). */
  if (i2cResult == I2C_BUS_OK) i2cResult = I2cBus_Recover();
  if (i2cResult == I2C_BUS_OK) i2cResult = PCA9536_InitOutputsKeepState(&pcaBefore, &pcaAfter);
  if (i2cResult == I2C_BUS_OK)
    (void) DebugLog_Printf("PCA9536: boot config=%X latch=%X -> config=%X latch=%X\r\n",
        pcaBefore.config & 0x0fU, pcaBefore.output & 0x0fU,
        pcaAfter.config & 0x0fU, pcaAfter.output & 0x0fU);
  else
    (void) DebugLog_Printf("PCA9536: startup failed result=%u HAL=0x%08lX; state unknown\r\n", i2cResult, (unsigned long)I2cBus_LastHalError());
  /* From here on the Control task is the only writer of the PCA9536. It starts
   * even when the read failed, in state UNKNOWN (I3). */
  if (!Control_Start())
    (void) DebugLog_Printf("CTRL: start failed\r\n");
  /* LED + OLED status (also in safe mode); its OLED traffic waits for Control (S6-1). */
  if (!LocalUi_Start())
    (void) DebugLog_Printf("UI: start failed\r\n");
  if (!Boot_SafeMode()) {
    /* Storage first: Acquisition reads the board config and the saved energy counter. */
    W25Q128_Result flashInit = W25Q128_Init(&hspi2);
    if (flashInit == W25Q128_OK) FlashDmaTest_Identify();
    else (void) DebugLog_Printf("FLASH DMA init failed %u\r\n", flashInit);
    if (flashInit == W25Q128_OK) (void) Storage_Init();
    if (!Storage_Start())
      (void) DebugLog_Printf("STORAGE: not started\r\n");
    Storage_LogEvent(ST_EV_BOOT, (int32_t)Boot_ResetCauseIndex(), (int32_t)Boot_ResetCount(), 0, 0);
    /* Firmware update state (boot record, staging slot) on flash chip 2. */
    if (flashInit == W25Q128_OK) Fota_Init();
    /* Acquisition owns ADC1/ADC2, TIM3 and DMA2 Stream0 from here on. Not in safe mode (S6-5). */
    if (!Acquisition_Start())
      (void) DebugLog_Printf("ACQ: start failed\r\n");
  }
  if (!protocolReady)
    (void) DebugLog_Printf("protocol: USART6 callback registration or RX DMA start failed\r\n");
  if (!Boot_SafeMode()) {
    (void) EthProbe_Start();
    /* Remote link to the cabinet RPi (docs/remote-link-protocol.md). */
    if (!RemoteLink_Start())
      (void) DebugLog_Printf("REMOTE: start failed\r\n");
  }
  /* Power owns the ETH/AMC rails from here on (started after EthProbe_Start). */
  if (!Power_Start())
    (void) DebugLog_Printf("PWR: start failed\r\n");
  Supervisor_BootComplete();

  /* Infinite loop */
  for(;;)
  {
    if (Supervisor_WdtTestActive()) {
      (void) DebugLog_Printf("WDTTEST: default task stops its heartbeat, expect a watchdog reset in ~3 s\r\n");
      for (;;) osDelay(1000);
    }
    Supervisor_Heartbeat();
    if (flashTestRequest == 1U)
    {
      flashTestRequest = 0U;
      FlashDmaTest_Run();
    }
    else if (flashTestRequest == 2U)   /* set over SWD: read-only whole-chip scan */
    {
      flashTestRequest = 0U;
      FlashDmaTest_Scan();
    }
    (void) DebugLog_Printf("SmartSwitch: heartbeat\r\n");   /* LED is owned by local_ui.c */
    EthProbe_Report();
    Fota_Tick();   /* trial confirmation, reboot after install / rollback request */
    osDelay(500);
  }
  /* USER CODE END 5 */
}

void HAL_TIM_PeriodElapsedCallback(TIM_HandleTypeDef *htim)
{
  if (htim->Instance == TIM6)
  {
    HAL_IncTick();
  }
}

void Error_Handler(void)
{
  __disable_irq();
  while (1)
  {
  }
}
